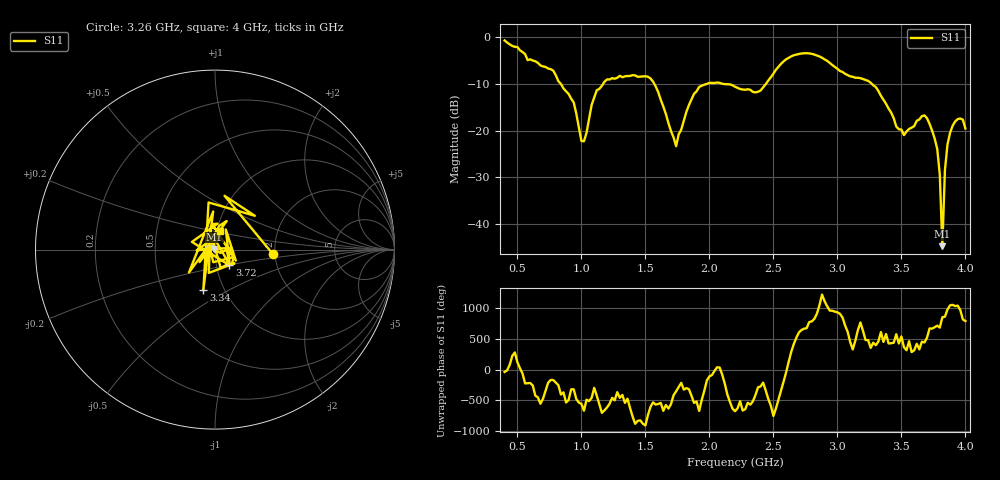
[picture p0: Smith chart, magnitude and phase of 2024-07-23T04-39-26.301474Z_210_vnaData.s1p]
!Created with skrf (http://scikit-rf.org).
# Hz S RI R 50.0
!freq ReS11 ImS11
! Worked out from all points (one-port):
!   181 points, 400 MHz to 4 GHz, reference 50 ohm
!   lowest |S11| = -44.6 dB at 3.82 GHz (marker M1), VSWR 1.01, Z = 49.6 + j0.406 ohm
!   |S11| at or under -10 dB: 1.569 GHz to 1.983 GHz (414.7 MHz wide, 23.3 % of centre); 2.099 GHz to 2.443 GHz (343.4 MHz wide, 15.1 % of centre); 3.268 GHz to end of sweep (the widest 3 of 4)
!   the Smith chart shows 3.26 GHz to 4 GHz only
!   S11 on the Smith chart (normalised r, x): 3.26 GHz: 1.95, -0.11; 3.34 GHz: 0.80, -0.38; 3.72 GHz: 1.15, -0.20; 4 GHz: 1.04, +0.21
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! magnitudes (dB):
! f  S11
! 400 MHz  -0.8
! 860 MHz  -11.0
! 940 MHz  -14.0
! 1 GHz  -22.2
! 1.02 GHz  -22.3
! 1.12 GHz  -11.4
! 1.3 GHz  -8.3
! 1.54 GHz  -8.9
! 1.74 GHz  -23.3
! 1.76 GHz  -20.8
! 1.92 GHz  -10.7
! 2.2 GHz  -10.6
! 2.4 GHz  -11.4
! 2.66 GHz  -3.9
! 3.1 GHz  -8.4
! 3.26 GHz  -9.8
! 3.34 GHz  -12.6
! 3.46 GHz  -19.1
! 3.56 GHz  -19.6
! 3.68 GHz  -16.8
! 3.72 GHz  -18.6
! 3.78 GHz  -23.9
! 3.8 GHz  -29.4
! 3.82 GHz  -44.6
! 3.84 GHz  -28.5
! 3.86 GHz  -23.0
! 3.94 GHz  -17.5
! 4 GHz  -19.5
